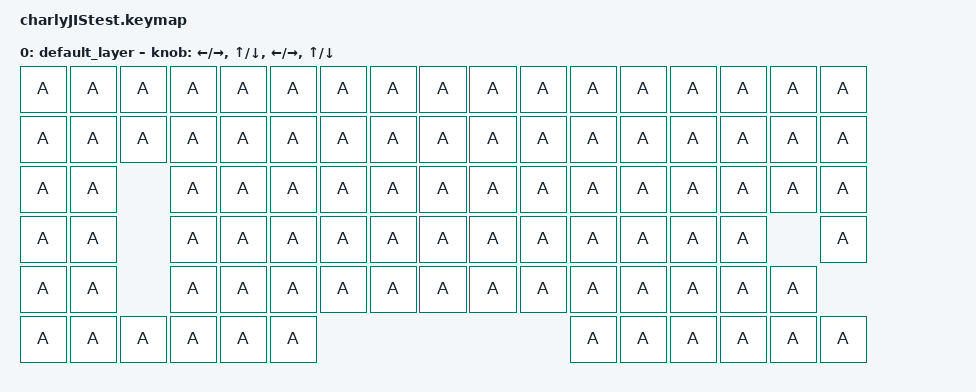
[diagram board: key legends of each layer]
#include <dt-bindings/zmk/mouse.h>
#include <behaviors.dtsi>
#include <dt-bindings/zmk/bt.h>
#include <dt-bindings/zmk/keys.h>
#include <dt-bindings/zmk/outputs.h>
#include <dt-bindings/zmk/pointing.h>

#include <input/processors.dtsi>
#include <dt-bindings/zmk/input_transform.h>

/* 名前を trackball_listener に修正し、末尾にセミコロンを追加 */
&trackball_listener {
    /* ① 通常時の速度 (1.5倍) */
    input-processors = <&zip_xy_scaler 3 2>;

    /* ② 低速モード (SNIPE: Layer 3) */
    /* 1/2 = 0.5倍速 */
    snipe {
        layers = <3>;
        input-processors = <&zip_xy_scaler 1 2>;
    };

    /* ③ 高速モード (MOUSE: Layer 2) */
    /* 5/2 = 2.5倍速 (ここは好きな数値に変えてOK) */
    turbo {
        layers = <2>;
        input-processors = <&zip_xy_scaler 5 2>;
    };

    /* --- 以下スクロール設定 (変更なし) --- */
    scroller {
        layers = <4>;
        input-processors = <&zip_xy_to_scroll_mapper>;
    };
    scroller_warp {
        layers = <5>;
        input-processors = <&zip_xy_scaler 4 1>, <&zip_xy_to_scroll_mapper>;
    };
    scroller_snipe {
        layers = <6>;
        input-processors = <&zip_xy_scaler 1 4>, <&zip_xy_to_scroll_mapper>;
    };
};

/ {
    keymap {
        compatible = "zmk,keymap";

        default_layer {
            bindings = <
&kp A &kp A &kp A &kp A &kp A &kp A &kp A &kp A     &kp A &kp A &kp A &kp A &kp A &kp A &kp A &kp A &kp A
&kp A &kp A &kp A &kp A &kp A &kp A &kp A &kp A     &kp A &kp A &kp A &kp A &kp A &kp A &kp A &kp A &kp A
&kp A &kp A       &kp A &kp A &kp A &kp A &kp A     &kp A &kp A &kp A &kp A &kp A &kp A &kp A &kp A &kp A
&kp A &kp A       &kp A &kp A &kp A &kp A &kp A     &kp A &kp A &kp A &kp A &kp A &kp A &kp A       &kp A
&kp A &kp A       &kp A &kp A &kp A &kp A &kp A     &kp A &kp A &kp A &kp A &kp A &kp A &kp A &kp A
&kp A   &kp A &kp A &kp A &kp A     &kp A &kp A     &kp A &kp A                         &kp A &kp A &kp A
            >;

            sensor-bindings = <
                &inc_dec_kp LEFT_ARROW RIGHT_ARROW
                &inc_dec_kp UP_ARROW   DOWN_ARROW
                &inc_dec_kp LEFT_ARROW RIGHT_ARROW
                &inc_dec_kp UP_ARROW   DOWN_ARROW
            >;
        };
    };
};

